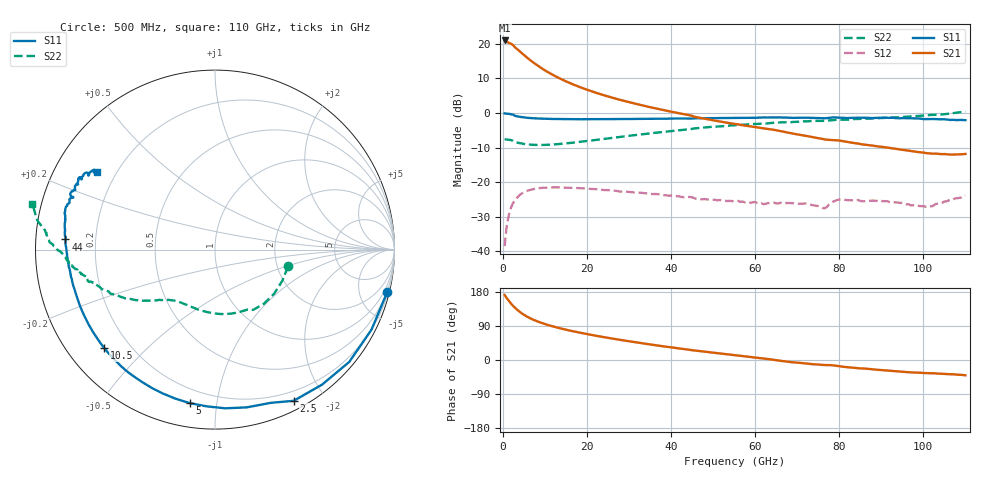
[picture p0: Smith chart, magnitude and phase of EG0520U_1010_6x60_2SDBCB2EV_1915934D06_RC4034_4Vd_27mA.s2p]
!File name = EG0520U_1010_6x60_2SDBCB2EV_1915934D06_RC4034_4Vd_27mA.s2p
!Base file name = EG0520U_1010_6x60_2SDBCB2EV_1915934D06_RC4034
!Date = 8/23/2019
!Time = 12:59 PM
!Test duration(min) = 0.15
!Test = S-Parameters
!MPTS version = 8.91.5
!State File = C:\Data\PNA\20190821205423\S-Parameters_2019-08-23.sta
!Cal File =
!ComputerName = CMPE-LAB-6
!Comments =
!Attenuation = 0
!Z0 = 50
!Input Power(dBm) = -13.00
!Device ID = EG0520U_1010_6x60_2SDBCB2EV
!Row = 40
!Column = 34
!Technology = QPHT09
!Lot/Wafer = 1915934D06
!Gate Size = 360
!Mask = EG0520
!Cal Standards = GaAs BCB
!Cal Kit = EG2306
!Job Number = 20190821205423
!Device Type = FET
!set_Vg(v) = -1.500
!set_Vd(v) = 4.000
!set_Vd(mA) = 27.000
!file_name = EG0520U_1010_6x60_2SDBCB2EV_1915934D06_RC4034_4Vd_27mA.s2p
!Vd(V) = 4.000
!Vd(mA) = 27.066
!Vg(V) = -0.601
!Vg(mA) = -0.008
# GHz  S  DB  R  50
!%	Freq(GHz)  s11(dB)  s11(deg)  s21(dB)  s21(deg)  s12(dB)  s12(deg)  s22(dB)  s22(deg)
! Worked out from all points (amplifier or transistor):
!   220 points, 500 MHz to 110 GHz, reference 50 ohm
!   highest |S21| = 21.0 dB at 500 MHz (marker M1)
!   |S21| within 3 dB of that: start of sweep to 3.953 GHz
!   unconditionally stable (mu >= 1): 33.73 GHz to 101.3 GHz
!   at 18.5 GHz: K = 0.53, MSG = 14.6 dB, |S12| = -21.7 dB
!   at 55.5 GHz: K = 1.51, MAG = 6.9 dB, |S12| = -25.4 dB
!   at 110 GHz: K = -2.00, MSG = 6.0 dB, |S12| = -23.8 dB
!   S11 on the Smith chart (normalised r, x): 500 MHz: 0.39, -8.31; 2.5 GHz: 0.10, -1.64; 5 GHz: 0.12, -0.84; 10.5 GHz: 0.11, -0.38; 44 GHz: 0.09, +0.03; 110 GHz: 0.13, +0.30
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0.5  -0.10 -13.7  21.00 171.5  -38.51 80.5  -7.59 -13.0
1  -0.18 -27.1  20.64 163.3  -32.71 73.9  -7.67 -25.0
1.5  -0.22 -39.9  20.32 156.3  -29.52 67.0  -7.72 -36.7
2  -0.35 -51.5  20.06 149.1  -27.46 60.5  -7.82 -48.2
2.5  -0.45 -62.5  19.65 142.8  -26.04 54.9  -8.02 -57.7
3.5  -0.95 -78.6  18.48 132.5  -24.40 46.1  -8.55 -69.1
4.5  -1.17 -93.2  17.41 123.7  -23.33 38.5  -8.80 -81.9
5  -1.24 -99.4  16.89 120.0  -22.97 35.5  -8.91 -87.2
6  -1.39 -110.0  15.87 113.4  -22.44 30.2  -9.08 -96.2
7.5  -1.52 -122.2  14.46 105.4  -21.98 24.0  -9.20 -106.3
9  -1.60 -131.2  13.19 99.0  -21.69 19.4  -9.24 -112.9
10.5  -1.67 -138.5  12.05 93.4  -21.57 15.5  -9.20 -118.4
14  -1.75 -150.6  9.78 82.8  -21.53 9.0  -8.90 -126.8
19  -1.79 -161.2  7.22 70.7  -21.77 2.9  -8.25 -133.6
27  -1.75 -171.4  4.12 54.9  -22.50 -2.7  -7.04 -140.4
37  -1.65 -179.5  1.19 38.0  -23.47 -4.7  -5.60 -147.7
44  -1.57 176.1  -0.53 27.4  -24.41 -4.3  -4.72 -152.7
55.5  -1.41 169.3  -3.20 12.3  -25.40 -3.7  -3.49 -161.0
73.5  -1.40 160.2  -6.92 -10.8  -26.62 -4.8  -2.28 -170.8
92  -1.40 151.8  -10.09 -28.4  -25.73 -16.2  -1.34 -178.9
102  -1.74 149.0  -11.74 -35.1  -27.03 -10.7  -0.53 175.1
110  -2.06 146.6  -11.83 -40.4  -23.78 -13.9  0.43 166.0
